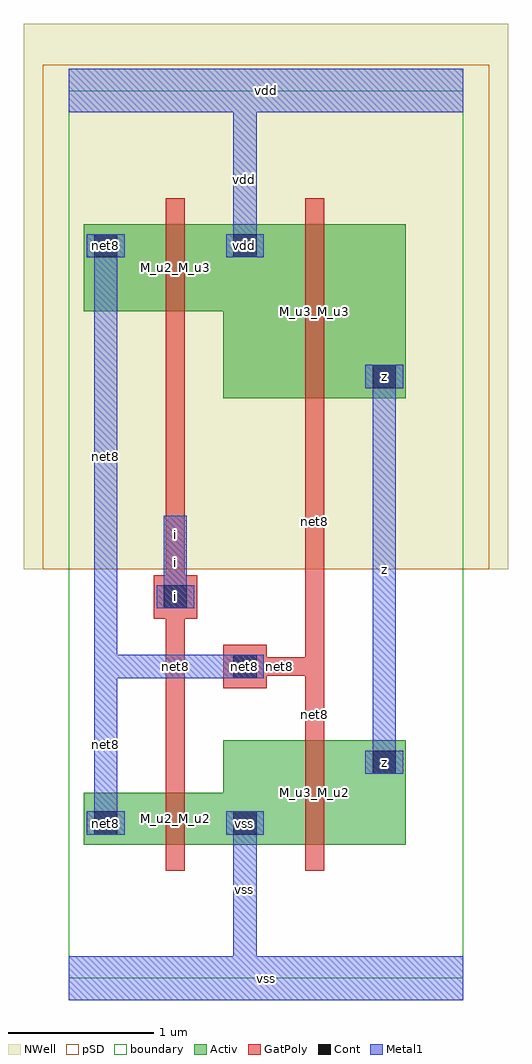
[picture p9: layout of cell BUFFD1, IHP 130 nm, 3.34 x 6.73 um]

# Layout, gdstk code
import gdstk
lib = gdstk.Library(unit=1e-6, precision=1e-09)
def R(c, l, rs):  # rectangles x0, y0, x1, y1
    for r in rs: c.add(gdstk.rectangle(r[:2], r[2:], *l))
Activ = (1, 0)
GatPoly = (5, 0)
Cont = (6, 0)
Metal1 = (8, 0)
pSD = (14, 0)
NWell = (31, 0)
TEXT = (63, 0)
boundary = (189, 4)

buffd1 = lib.new_cell('BUFFD1')
R(buffd1, Activ, [(0.105,0.92,1.365,1.28), (0.105,0.92,0.405,1.22), (1.065,0.92,2.325,1.64), (1.065,0.92,1.365,1.22), (2.025,1.34,2.325,1.64), (1.065,4,2.325,5.2), (2.025,4,2.325,4.3), (0.105,4.6,1.365,5.2), (0.105,4.9,0.405,5.2), (1.065,4.9,1.365,5.2)])
R(buffd1, GatPoly, [(0.67,0.74,0.8,1.46), (1.63,0.74,1.76,1.82), (0.67,1.005,0.8,5.115), (1.63,1.425,1.76,2.215), (1.065,2,1.365,2.3), (1.15,2.085,1.76,2.215), (1.63,2.085,1.76,4.215), (0.585,2.48,0.885,2.78), (1.63,3.82,1.76,5.38), (0.67,4.42,0.8,5.38)])
R(buffd1, Cont, [(0.175,0.99,0.335,1.15), (1.135,0.99,1.295,1.15), (2.095,1.41,2.255,1.57), (1.135,2.07,1.295,2.23), (0.655,2.55,0.815,2.71), (2.095,4.07,2.255,4.23), (0.175,4.97,0.335,5.13), (1.135,4.97,1.295,5.13)])
R(buffd1, Metal1, [(0,-0.15,2.72,0.15), (1.135,0.07,1.295,1.15), (0.125,0.99,0.385,1.15), (0.175,0.99,0.335,2.23), (1.085,0.99,1.345,1.15), (2.045,1.41,2.305,1.57), (2.095,1.41,2.255,4.23), (0.175,2.07,1.295,2.23), (0.175,2.07,0.335,5.13), (1.085,2.07,1.345,2.23), (0.605,2.55,0.865,2.71), (0.655,2.55,0.815,3.19), (2.045,4.07,2.305,4.23), (0.125,4.97,0.385,5.13), (1.085,4.97,1.345,5.13), (1.135,4.97,1.295,6.05), (0,5.97,2.72,6.27)])
R(buffd1, pSD, [(-0.18,2.82,2.9,5.94), (-0.18,5.94,2.9,6.3)])
R(buffd1, NWell, [(-0.31,2.82,3.03,6.58)])
R(buffd1, boundary, [(0,0,2.72,6.12)])
buffd1.add(gdstk.FlexPath([(0.105,0.41),(2.325,0.41)], 0, ends="flush", simple_path=True, layer=63, datatype=0))  # TEXT
buffd1.add(gdstk.FlexPath([(0.105,1.07),(2.325,1.07)], 0, ends="flush", simple_path=True, layer=63, datatype=0))  # TEXT
buffd1.add(gdstk.FlexPath([(0.105,1.49),(2.325,1.49)], 0, ends="flush", simple_path=True, layer=63, datatype=0))  # TEXT
buffd1.add(gdstk.FlexPath([(0.105,2.15),(2.325,2.15)], 0, ends="flush", simple_path=True, layer=63, datatype=0))  # TEXT
buffd1.add(gdstk.FlexPath([(0.105,2.63),(2.325,2.63)], 0, ends="flush", simple_path=True, layer=63, datatype=0))  # TEXT
buffd1.add(gdstk.FlexPath([(0.105,3.11),(2.325,3.11)], 0, ends="flush", simple_path=True, layer=63, datatype=0))  # TEXT
buffd1.add(gdstk.FlexPath([(0.105,4.15),(2.325,4.15)], 0, ends="flush", simple_path=True, layer=63, datatype=0))  # TEXT
buffd1.add(gdstk.FlexPath([(0.105,4.71),(2.325,4.71)], 0, ends="flush", simple_path=True, layer=63, datatype=0))  # TEXT
buffd1.add(gdstk.FlexPath([(0.105,5.05),(2.325,5.05)], 0, ends="flush", simple_path=True, layer=63, datatype=0))  # TEXT
buffd1.add(gdstk.FlexPath([(0.105,5.71),(2.325,5.71)], 0, ends="flush", simple_path=True, layer=63, datatype=0))  # TEXT
buffd1.add(gdstk.FlexPath([(0.255,0.07),(0.255,6.05)], 0, ends="flush", simple_path=True, layer=63, datatype=0))  # TEXT
buffd1.add(gdstk.FlexPath([(0.735,0.07),(0.735,6.05)], 0, ends="flush", simple_path=True, layer=63, datatype=0))  # TEXT
buffd1.add(gdstk.FlexPath([(1.215,0.07),(1.215,6.05)], 0, ends="flush", simple_path=True, layer=63, datatype=0))  # TEXT
buffd1.add(gdstk.FlexPath([(1.695,0.07),(1.695,6.05)], 0, ends="flush", simple_path=True, layer=63, datatype=0))  # TEXT
buffd1.add(gdstk.FlexPath([(2.175,0.07),(2.175,6.05)], 0, ends="flush", simple_path=True, layer=63, datatype=0))  # TEXT
buffd1.add(gdstk.Label('z', (2.175,1.49), layer=6, texttype=0))
buffd1.add(gdstk.Label('z', (2.175,4.15), layer=6, texttype=0))
buffd1.add(gdstk.Label('net8', (0.255,1.07), layer=6, texttype=0))
buffd1.add(gdstk.Label('net8', (0.255,5.05), layer=6, texttype=0))
buffd1.add(gdstk.Label('net8', (1.215,2.15), layer=6, texttype=0))
buffd1.add(gdstk.Label('i', (0.735,2.63), layer=6, texttype=0))
buffd1.add(gdstk.Label('vss', (1.215,1.07), layer=6, texttype=0))
buffd1.add(gdstk.Label('vdd', (1.215,5.05), layer=6, texttype=0))
buffd1.add(gdstk.Label('net8', (0.255,1.07), layer=8, texttype=0))
buffd1.add(gdstk.Label('net8', (0.255,5.05), layer=8, texttype=0))
buffd1.add(gdstk.Label('net8', (1.215,2.15), layer=8, texttype=0))
buffd1.add(gdstk.Label('net8', (0.735,2.15), layer=8, texttype=0))
buffd1.add(gdstk.Label('net8', (0.255,1.61), layer=8, texttype=0))
buffd1.add(gdstk.Label('net8', (0.255,3.6), layer=8, texttype=0))
buffd1.add(gdstk.Label('vss', (1.215,1.07), layer=8, texttype=0))
buffd1.add(gdstk.Label('vss', (1.215,0.61), layer=8, texttype=0))
buffd1.add(gdstk.Label('vdd', (1.215,5.05), layer=8, texttype=0))
buffd1.add(gdstk.Label('vdd', (1.215,5.51), layer=8, texttype=0))
buffd1.add(gdstk.Label('z', (2.175,1.49), layer=8, texttype=2))
buffd1.add(gdstk.Label('z', (2.175,4.15), layer=8, texttype=2))
buffd1.add(gdstk.Label('z', (2.175,2.82), layer=8, texttype=2))
buffd1.add(gdstk.Label('i', (0.735,2.63), layer=8, texttype=2))
buffd1.add(gdstk.Label('i', (0.735,2.87), layer=8, texttype=2))
buffd1.add(gdstk.Label('vss', (1.36,0), layer=8, texttype=2))
buffd1.add(gdstk.Label('vdd', (1.36,6.12), layer=8, texttype=2))
buffd1.add(gdstk.Label('z', (2.175,1.49), layer=8, texttype=2))
buffd1.add(gdstk.Label('z', (2.175,4.15), layer=8, texttype=2))
buffd1.add(gdstk.Label('z', (2.175,2.82), layer=8, texttype=2))
buffd1.add(gdstk.Label('i', (0.735,2.63), layer=8, texttype=2))
buffd1.add(gdstk.Label('i', (0.735,2.87), layer=8, texttype=2))
buffd1.add(gdstk.Label('vss', (1.36,0), layer=8, texttype=2))
buffd1.add(gdstk.Label('vdd', (1.36,6.12), layer=8, texttype=2))
buffd1.add(gdstk.Label('M_u3_M_u2', (1.695,1.28), layer=1, texttype=0))
buffd1.add(gdstk.Label('M_u2_M_u2', (0.735,1.1), layer=1, texttype=0))
buffd1.add(gdstk.Label('M_u3_M_u3', (1.695,4.6), layer=1, texttype=0))
buffd1.add(gdstk.Label('M_u2_M_u3', (0.735,4.9), layer=1, texttype=0))
buffd1.add(gdstk.Label('z', (2.175,1.49), layer=1, texttype=0))
buffd1.add(gdstk.Label('z', (2.175,4.15), layer=1, texttype=0))
buffd1.add(gdstk.Label('net8', (0.255,1.07), layer=1, texttype=0))
buffd1.add(gdstk.Label('net8', (0.255,5.05), layer=1, texttype=0))
buffd1.add(gdstk.Label('vss', (1.215,1.07), layer=1, texttype=0))
buffd1.add(gdstk.Label('vdd', (1.215,5.05), layer=1, texttype=0))
buffd1.add(gdstk.Label('z', (2.175,1.49), layer=8, texttype=25))
buffd1.add(gdstk.Label('z', (2.175,4.15), layer=8, texttype=25))
buffd1.add(gdstk.Label('z', (2.175,2.82), layer=8, texttype=25))
buffd1.add(gdstk.Label('i', (0.735,2.63), layer=8, texttype=25))
buffd1.add(gdstk.Label('i', (0.735,2.87), layer=8, texttype=25))
buffd1.add(gdstk.Label('vss', (1.36,0), layer=8, texttype=25))
buffd1.add(gdstk.Label('vdd', (1.36,6.12), layer=8, texttype=25))
buffd1.add(gdstk.Label('net8', (1.695,1.82), layer=5, texttype=0))
buffd1.add(gdstk.Label('net8', (1.455,2.15), layer=5, texttype=0))
buffd1.add(gdstk.Label('net8', (1.215,2.15), layer=5, texttype=0))
buffd1.add(gdstk.Label('net8', (1.695,3.15), layer=5, texttype=0))
buffd1.add(gdstk.Label('i', (0.735,3.06), layer=5, texttype=0))
buffd1.add(gdstk.Label('i', (0.735,2.63), layer=5, texttype=0))

lib.write_gds('BUFFD1.gds')
